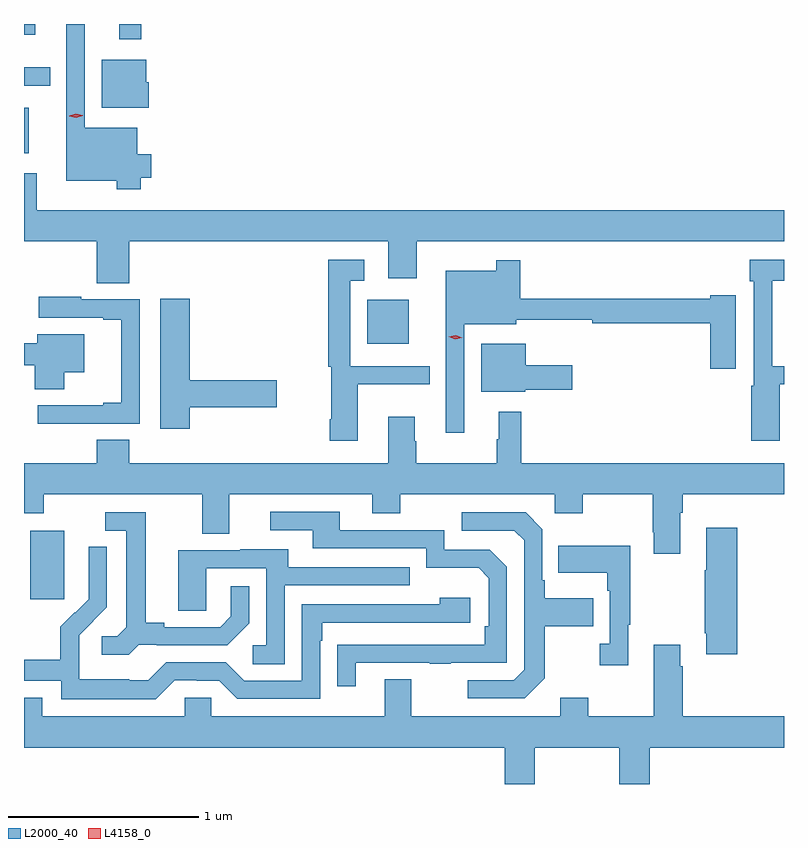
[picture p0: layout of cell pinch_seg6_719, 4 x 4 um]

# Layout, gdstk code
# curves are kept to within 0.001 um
import gdstk
lib = gdstk.Library(unit=1e-6, precision=1e-09)
def R(c, l, rs):  # rectangles x0, y0, x1, y1
    for r in rs: c.add(gdstk.rectangle(r[:2], r[2:], *l))
def P(c, l, *ps):  # polygons
    for p in ps: c.add(gdstk.Polygon(p, *l))
L2000_40 = (2000, 40)
L4158_0 = (4158, 0)

pinch_seg6_719 = lib.new_cell('pinch_seg6_719')
R(pinch_seg6_719, L2000_40, [(501.653,944.121,501.832,944.482), (503.426,945.464,503.644,945.697), (501.62,946.469,501.646,946.708), (501.62,946.824,501.758,946.921), (502.121,947.067,502.238,947.148), (501.62,947.091,501.679,947.148)])
P(pinch_seg6_719, L2000_40, [(502.235,946.34),(502.289,946.34),(502.289,946.462),(502.216,946.462),(502.216,946.603),(501.939,946.603),(501.939,947.148),(501.843,947.148),(501.843,946.699),(501.842,946.699),(501.842,946.322),(502.107,946.322),(502.107,946.277),(502.235,946.277)],
  [(502.276,946.842),(502.264,946.842),(502.264,946.96),(502.028,946.96),(502.028,946.706),(502.276,946.706)],
  [(502.175,946.004),(503.537,946.004),(503.537,945.81),(503.686,945.81),(503.686,946.004),(505.62,946.004),(505.62,946.168),(501.688,946.168),(501.688,946.363),(501.62,946.363),(501.62,946.004),(502.004,946.004),(502.004,945.784),(502.175,945.784)],
  [(505.597,945.251),(505.62,945.251),(505.62,945.348),(505.557,945.348),(505.557,945.797),(505.62,945.797),(505.62,945.907),(505.441,945.907),(505.441,945.794),(505.461,945.794),(505.461,945.245),(505.448,945.245),(505.448,944.955),(505.597,944.955)],
  [(503.377,945.251),(503.756,945.251),(503.756,945.348),(503.337,945.348),(503.337,945.797),(503.41,945.797),(503.41,945.907),(503.221,945.907),(503.221,945.345),(503.236,945.345),(503.236,945.067),(503.228,945.067),(503.228,944.955),(503.377,944.955)],
  [(503.937,945.569),(504.21,945.569),(504.21,945.592),(504.61,945.592),(504.61,945.574),(505.232,945.574),(505.232,945.333),(505.366,945.333),(505.366,945.721),(505.232,945.721),(505.232,945.703),(504.233,945.703),(504.233,945.904),(504.105,945.904),(504.105,945.85),(503.84,945.85),(503.84,945.473),(503.841,945.473),(503.841,944.997),(503.937,944.997)],
  [(501.92,945.045),(502.23,945.045),(502.23,945.699),(501.92,945.699),(501.92,945.712),(501.697,945.712),(501.697,945.603),(502.037,945.603),(502.037,945.591),(502.133,945.591),(502.133,945.154),(502.037,945.154),(502.037,945.141),(501.693,945.141),(501.693,945.044),(501.92,945.044)],
  [(502.493,945.13),(502.951,945.13),(502.951,945.272),(502.493,945.272),(502.493,945.703),(502.337,945.703),(502.337,945.018),(502.493,945.018)],
  [(501.831,945.314),(501.937,945.314),(501.937,945.514),(501.689,945.514),(501.689,945.468),(501.62,945.468),(501.62,945.352),(501.677,945.352),(501.677,945.226),(501.831,945.226)],
  [(504.258,945.223),(504.505,945.223),(504.505,945.352),(504.262,945.352),(504.262,945.466),(504.026,945.466),(504.026,945.212),(504.258,945.212)],
  [(505.075,944.576),(505.088,944.576),(505.088,944.672),(505.62,944.672),(505.62,944.836),(504.236,944.836),(504.236,945.106),(504.119,945.106),(504.119,944.963),(504.108,944.963),(504.108,944.836),(503.685,944.836),(503.685,944.951),(503.677,944.951),(503.677,945.082),(503.537,945.082),(503.537,944.836),(502.175,944.836),(502.175,944.96),(502.004,944.96),(502.004,944.836),(501.62,944.836),(501.62,944.573),(501.723,944.573),(501.723,944.672),(502.559,944.672),(502.559,944.464),(502.699,944.464),(502.699,944.672),(503.453,944.672),(503.453,944.573),(503.601,944.573),(503.601,944.672),(504.414,944.672),(504.414,944.573),(504.561,944.573),(504.561,944.672),(504.928,944.672),(504.928,944.473),(504.935,944.473),(504.935,944.361),(505.075,944.361)],
  [(503.365,943.785),(503.755,943.785),(503.755,943.78),(503.867,943.78),(503.867,943.785),(504.162,943.785),(504.162,944.292),(504.072,944.382),(503.832,944.382),(503.832,944.484),(503.281,944.484),(503.281,944.58),(502.917,944.58),(502.917,944.484),(503.141,944.484),(503.141,944.388),(503.736,944.388),(503.736,944.285),(504.013,944.285),(504.066,944.232),(504.066,943.978),(504.046,943.978),(504.046,943.881),(503.269,943.88),(503.269,943.662),(503.365,943.662)],
  [(502.224,943.881),(502.318,943.881),(502.318,943.878),(502.69,943.878),(502.806,943.994),(502.806,944.188),(502.709,944.188),(502.709,944.031),(502.652,943.974),(502.357,943.974),(502.357,943.997),(502.261,943.997),(502.261,944.577),(502.047,944.577),(502.047,944.481),(502.157,944.481),(502.157,943.973),(502.11,943.926),(502.029,943.926),(502.029,943.829),(502.172,943.829)],
  [(504.361,943.705),(504.361,943.978),(504.617,943.978),(504.617,944.125),(504.361,944.125),(504.361,944.221),(504.348,944.221),(504.348,944.49),(504.261,944.577),(503.925,944.577),(503.925,944.481),(504.201,944.481),(504.252,944.43),(504.252,943.749),(504.198,943.695),(503.955,943.695),(503.955,943.599),(504.255,943.599)],
  [(505.374,944.497),(505.211,944.497),(505.211,944.273),(505.204,944.273),(505.204,943.942),(505.211,943.942),(505.211,943.83),(505.374,943.83)],
  [(504.799,943.985),(504.811,943.985),(504.811,944.401),(504.433,944.401),(504.433,944.261),(504.69,944.261),(504.69,944.165),(504.702,944.165),(504.702,943.886),(504.651,943.886),(504.651,943.773),(504.799,943.773)],
  [(502.413,943.695),(502.529,943.695),(502.529,943.692),(502.647,943.692),(502.743,943.596),(503.178,943.596),(503.178,943.901),(503.191,943.901),(503.191,943.998),(503.968,943.998),(503.968,944.128),(503.807,944.128),(503.807,944.094),(503.082,944.094),(503.082,943.692),(502.779,943.692),(502.683,943.788),(502.368,943.788),(502.275,943.695),(502.175,943.695),(502.175,943.699),(501.912,943.699),(501.912,943.833),(501.91,943.833),(501.91,943.93),(502.056,944.078),(502.056,944.396),(501.96,944.396),(501.96,944.242),(501.962,944.242),(501.962,944.12),(501.891,944.049),(501.888,944.052),(501.811,943.975),(501.811,943.801),(501.62,943.801),(501.62,943.692),(501.816,943.692),(501.816,943.595),(502.313,943.595)],
  [(502.992,944.193),(503.651,944.193),(503.651,944.289),(503.011,944.289),(503.011,944.383),(502.757,944.383),(502.757,944.379),(502.433,944.379),(502.433,944.059),(502.578,944.059),(502.578,944.283),(502.896,944.283),(502.896,943.878),(502.824,943.878),(502.824,943.777),(502.992,943.777)],
  [(504.309,943.34),(504.754,943.34),(504.754,943.148),(504.914,943.148),(504.914,943.34),(505.62,943.34),(505.62,943.504),(505.088,943.504),(505.088,943.769),(505.075,943.769),(505.075,943.882),(504.935,943.882),(504.935,943.504),(504.591,943.504),(504.591,943.603),(504.443,943.603),(504.443,943.504),(503.659,943.504),(503.659,943.699),(503.519,943.699),(503.519,943.504),(502.605,943.504),(502.605,943.602),(502.467,943.602),(502.467,943.504),(501.715,943.504),(501.715,943.603),(501.62,943.603),(501.62,943.34),(504.149,943.34),(504.149,943.148),(504.309,943.148)])
P(pinch_seg6_719, L4158_0, [(501.894,946.655),(501.857,946.663),(501.857,946.664),(501.857,946.664),(501.893,946.675),(501.929,946.667),(501.929,946.666),(501.929,946.666)],
  [(503.891,945.49),(503.856,945.502),(503.856,945.502),(503.856,945.502),(503.892,945.51),(503.927,945.498),(503.927,945.498),(503.927,945.498)])

lib.write_gds('pinch_seg6_719.gds')
